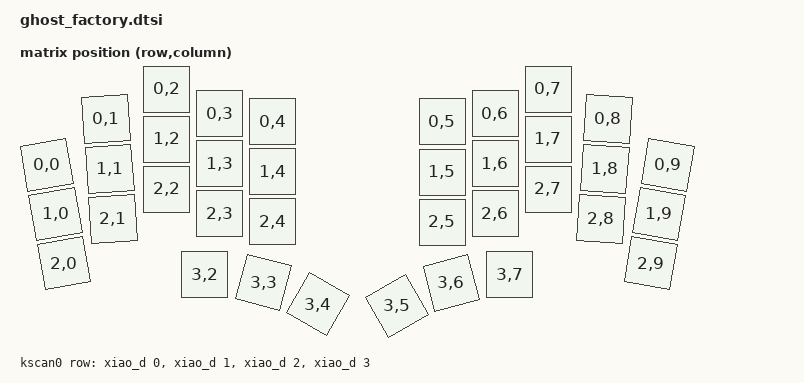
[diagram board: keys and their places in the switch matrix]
#include <dt-bindings/zmk/matrix_transform.h>
#include <physical_layouts.dtsi>

/ {
    chosen {
        zmk,physical-layout = &default_layout;
    };

    default_transform: keymap_transform0 {
        compatible = "zmk,matrix-transform";
        columns = <10>;
        rows = <4>;
        map = <
        //  LKey 1  |LKey 2  |LKey 3  |LKey 4  |LKey 5       RKey 1  |RKey 2  |RKey 3  |RKey 4  |RKey 5
        //  LKey 6  |LKey 7  |LKey 8  |LKey 9  |LKey 10      RKey 6  |RKey 7  |RKey 8  |RKey 9  |RKey 10
        //  LKey 11 |LKey 12 |LKey 13 |LKey 14 |LKey 15      RKey 11 |RKey 12 |RKey 13 |RKey 14 |RKey 15
        //                    LKey 16 |LKey 17 |LKey 18      RKey 16 |RKey 17 |RKey 18
            RC(0,0) RC(0,1) RC(0,2) RC(0,3) RC(0,4)     RC(0,5) RC(0,6) RC(0,7) RC(0,8) RC(0,9)
            RC(1,0) RC(1,1) RC(1,2) RC(1,3) RC(1,4)     RC(1,5) RC(1,6) RC(1,7) RC(1,8) RC(1,9)
            RC(2,0) RC(2,1) RC(2,2) RC(2,3) RC(2,4)     RC(2,5) RC(2,6) RC(2,7) RC(2,8) RC(2,9)
                            RC(3,2) RC(3,3) RC(3,4)     RC(3,5) RC(3,6) RC(3,7)
        >;
    };


    default_layout: physical_layout_0 {
        compatible = "zmk,physical-layout";
        display-name = "Ghost Monument";

        kscan = <&kscan0>;
        transform = <&default_transform>;

        keys  //                     w   h    x    y     rot    rx    ry
            = <&key_physical_attrs 100 100    0  151 (-1000)    53   201>
            , <&key_physical_attrs 100 100  119   60  (-400)   172   110>
            , <&key_physical_attrs 100 100  240    0       0     0     0>
            , <&key_physical_attrs 100 100  346   49       0     0     0>
            , <&key_physical_attrs 100 100  452   65       0     0     0>
            , <&key_physical_attrs 100 100  791   65       0     0     0>
            , <&key_physical_attrs 100 100  897   49       0     0     0>
            , <&key_physical_attrs 100 100 1003    0       0     0     0>
            , <&key_physical_attrs 100 100 1123   60     400  1176   110>
            , <&key_physical_attrs 100 100 1242  152    1000  1295   202>
            , <&key_physical_attrs 100 100   18  250 (-1000)    70   300>
            , <&key_physical_attrs 100 100  126  160  (-400)   179   210>
            , <&key_physical_attrs 100 100  240  100       0     0     0>
            , <&key_physical_attrs 100 100  346  149       0     0     0>
            , <&key_physical_attrs 100 100  452  165       0     0     0>
            , <&key_physical_attrs 100 100  791  166       0     0     0>
            , <&key_physical_attrs 100 100  897  149       0     0     0>
            , <&key_physical_attrs 100 100 1003  100       0     0     0>
            , <&key_physical_attrs 100 100 1116  160     400  1169   210>
            , <&key_physical_attrs 100 100 1225  250    1000  1278   300>
            , <&key_physical_attrs 100 100   35  348 (-1000)    88   398>
            , <&key_physical_attrs 100 100  133  260  (-400)   186   310>
            , <&key_physical_attrs 100 100  240  200       0     0     0>
            , <&key_physical_attrs 100 100  346  249       0     0     0>
            , <&key_physical_attrs 100 100  452  265       0     0     0>
            , <&key_physical_attrs 100 100  791  266       0     0     0>
            , <&key_physical_attrs 100 100  897  249       0     0     0>
            , <&key_physical_attrs 100 100 1003  200       0     0     0>
            , <&key_physical_attrs 100 100 1109  260     400  1162   310>
            , <&key_physical_attrs 100 100 1208  349    1000  1261   399>
            , <&key_physical_attrs 100 100  316  371       0     0     0>
            , <&key_physical_attrs 100 100  434  387    1500   486   437>
            , <&key_physical_attrs 100 100  542  432    3000   595   482>
            , <&key_physical_attrs 100 100  701  432 (-3000)   754   482>
            , <&key_physical_attrs 100 100  809  387 (-1500)   862   437>
            , <&key_physical_attrs 100 100  926  371       0     0     0>
            ;};

    kscan0: kscan0 {
        compatible = "zmk,kscan-gpio-matrix";
        diode-direction = "col2row";
        wakeup-source;

        row-gpios
            = <&xiao_d 0 (GPIO_ACTIVE_HIGH | GPIO_PULL_DOWN)>
            , <&xiao_d 1 (GPIO_ACTIVE_HIGH | GPIO_PULL_DOWN)>
            , <&xiao_d 2 (GPIO_ACTIVE_HIGH | GPIO_PULL_DOWN)>
            , <&xiao_d 3 (GPIO_ACTIVE_HIGH | GPIO_PULL_DOWN)>
            ;

    };
};
